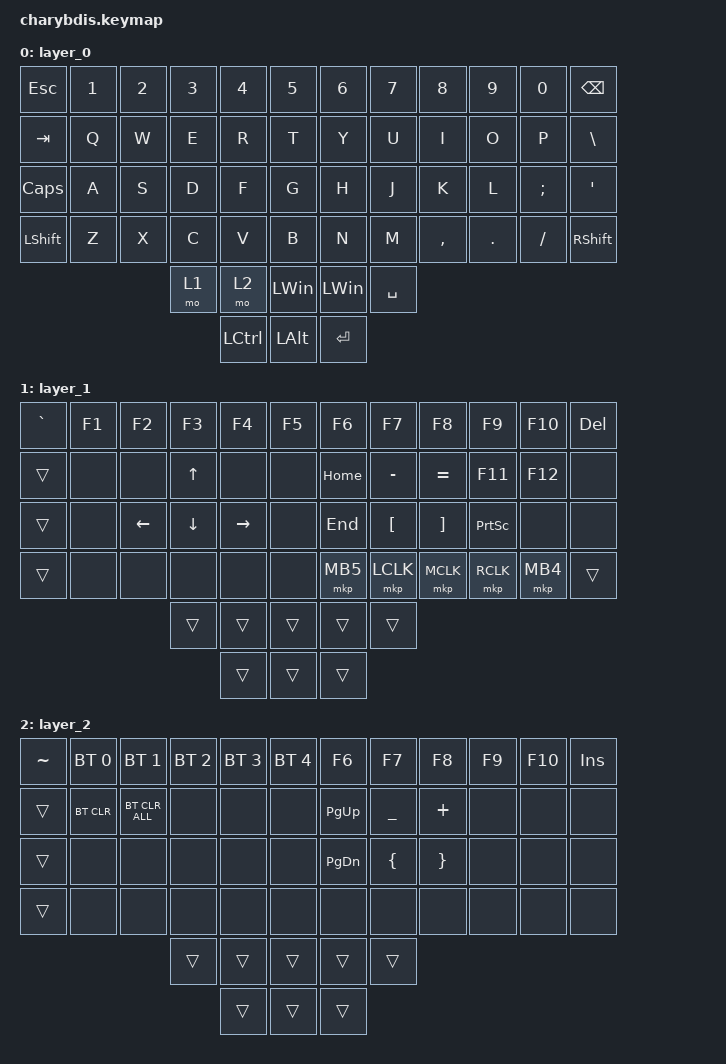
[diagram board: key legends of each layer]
#include <behaviors.dtsi>
#include <dt-bindings/zmk/bt.h>
#include <dt-bindings/zmk/keys.h>
#include <dt-bindings/zmk/pointing.h>

&lt {
    tapping-term-ms = <200>;
    flavor = "balanced";
    quick-tap-ms = <150>;
};

/ {
    keymap {
        compatible = "zmk,keymap";

        layer_0 {
            bindings = <
&kp ESC     &kp N1  &kp N2  &kp N3  &kp N4     &kp N5      &kp N6     &kp N7     &kp N8     &kp N9   &kp N0     &kp BSPC
&kp TAB     &kp Q   &kp W   &kp E   &kp R      &kp T       &kp Y      &kp U      &kp I      &kp O    &kp P      &kp BACKSLASH
&kp CAPS    &kp A   &kp S   &kp D   &kp F      &kp G       &kp H      &kp J      &kp K      &kp L    &kp SEMI   &kp APOS
&kp LSHIFT  &kp Z   &kp X   &kp C   &kp V      &kp B       &kp N      &kp M      &kp COMMA  &kp DOT  &kp SLASH  &kp RSHIFT
                            &mo 1   &mo 2      &kp LWIN    &kp LWIN   &kp SPACE
                                    &kp LCTRL  &kp LALT    &kp ENTER
            >;
        };

        layer_1 {
            bindings = <
&kp GRAVE  &kp F1  &kp F2    &kp F3    &kp F4     &kp F5    &kp F6    &kp F7     &kp F8     &kp F9     &kp F10   &kp DEL
&trans     &none   &none     &kp UP    &none      &none     &kp HOME  &kp MINUS  &kp EQUAL  &kp F11    &kp F12   &none
&trans     &none   &kp LEFT  &kp DOWN  &kp RIGHT  &none     &kp END   &kp LBKT   &kp RBKT   &kp PSCRN  &none     &none
&trans     &none   &none     &none     &none      &none     &mkp MB5  &mkp LCLK  &mkp MCLK  &mkp RCLK  &mkp MB4  &trans
                             &trans    &trans     &trans    &trans    &trans
                                       &trans     &trans    &trans
            >;
        };

        layer_2 {
            bindings = <
&kp TILDE  &bt BT_SEL 0  &bt BT_SEL 1    &bt BT_SEL 2  &bt BT_SEL 3  &bt BT_SEL 4    &kp F6     &kp F7     &kp F8    &kp F9  &kp F10  &kp INS
&trans     &bt BT_CLR    &bt BT_CLR_ALL  &none         &none         &none           &kp PG_UP  &kp UNDER  &kp PLUS  &none   &none    &none
&trans     &none         &none           &none         &none         &none           &kp PG_DN  &kp LBRC   &kp RBRC  &none   &none    &none
&trans     &none         &none           &none         &none         &none           &none      &none      &none     &none   &none    &none
                                         &trans        &trans        &trans          &trans     &trans
                                                       &trans        &trans          &trans
            >;
        };

        /* layer_2 {
            bindings = <
&none  &none   &none    &none   &none         &none         &kp N1         &none         &none     &none  &none   &to 0
&none  &none   &none    &none   &none         &none         &none         &none          &rgb_ug RGB_BRD &rgb_ug RGB_BRI  &rgb_ug RGB_EFF   &rgb_ug RGB_TOG
&none  &none   &none    &none   &none         &none         &none         &mkp LCLK     &mkp RCLK  &none  &none   &none
&none  &none   &none    &none   &bt BT_NXT  &bt BT_CLR    &none         &none         &none     &none  &none   &none
                                   &none         &none         &none         &none         &none
                                                 &none         &none         &none
            >;
       
            
        };

       Mouse {
            bindings = <
&none        &none         &none         &none         &none      &none         &none       &none      &none         &none         &none         &none
&none        &bt BT_SEL 0  &bt BT_SEL 1  &bt BT_SEL 3  &none      &bt BT_CLR    &bt BT_CLR  &none      &bt BT_SEL 2  &bt BT_SEL 1  &bt BT_SEL 0  &none
&none        &trans        &trans        &mkp MCLK     &trans     &none         &none       &trans     &mkp MCLK     &trans        &trans        &none
&bootloader  &trans        &mkp RCLK     &mo 4         &mkp LCLK  &mo 5         &mo 5       &mkp LCLK  &mo 4         &mkp RCLK     &trans        &bootloader
                                         &mo 5         &mkp LCLK  &mkp RCLK     &mkp RCLK   &mkp LCLK
                                                       &none      &trans        &trans
            >;

            
        };

        layer_4 {
            bindings = <
&trans  &trans  &trans     &trans     &trans     &trans       &trans     &trans     &trans     &trans     &trans  &trans
&trans  &trans  &trans     &trans     &trans     &trans       &trans     &trans     &trans     &trans     &trans  &trans
&trans  &trans  &trans     &mkp MCLK  &trans     &trans       &trans     &trans     &mkp MCLK  &trans     &trans  &trans
&trans  &trans  &mkp RCLK  &trans     &mkp LCLK  &trans       &trans     &mkp LCLK  &trans     &mkp RCLK  &trans  &trans
                           &trans     &mkp LCLK  &mkp RCLK    &mkp RCLK  &mkp LCLK
                                      &trans     &trans       &trans
            >;
                
                
               
        };

        layer_5 {
            bindings = <
&trans  &trans  &trans     &trans     &trans     &trans       &trans     &trans     &trans     &trans     &trans  &trans
&trans  &trans  &trans     &trans     &trans     &trans       &trans     &trans     &trans     &trans     &trans  &trans
&trans  &trans  &trans     &mkp MCLK  &trans     &trans       &trans     &trans     &mkp MCLK  &trans     &trans  &trans
&trans  &trans  &mkp RCLK  &trans     &mkp LCLK  &trans       &trans     &mkp LCLK  &trans     &mkp RCLK  &trans  &trans
                           &trans     &mkp LCLK  &mkp RCLK    &mkp RCLK  &mkp LCLK
                                      &trans     &trans       &trans
            >;
                
                
        };*/
    };
};
